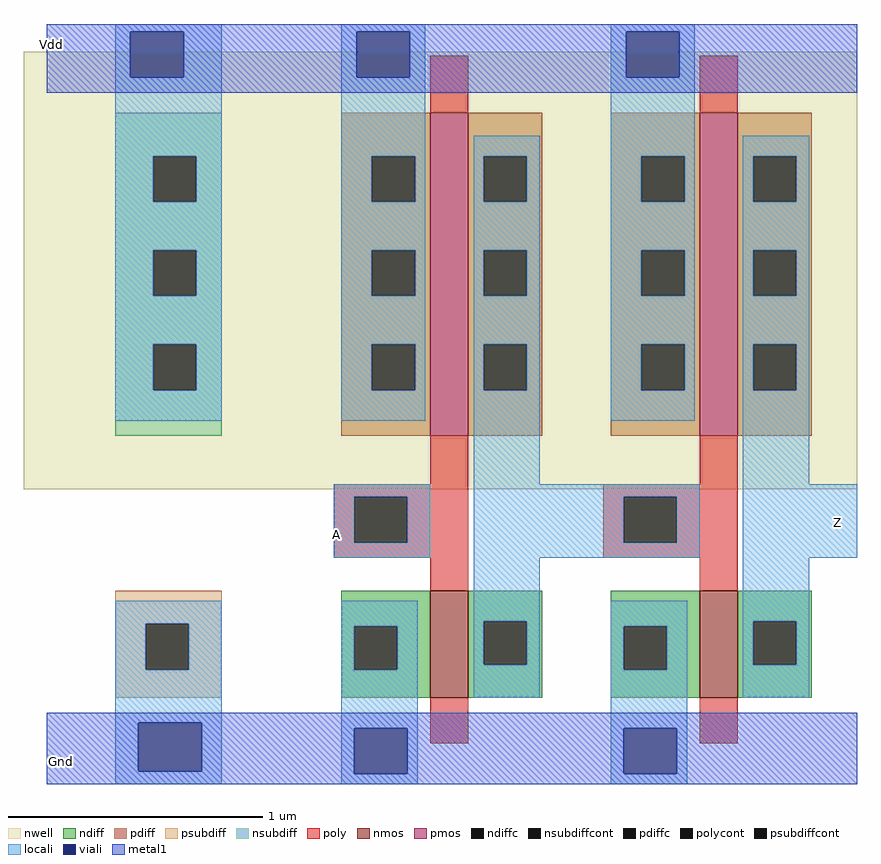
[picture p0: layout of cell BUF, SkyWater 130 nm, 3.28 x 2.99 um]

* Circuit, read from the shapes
.subckt BUF Vdd Gnd A Z
XM1 n1 A Gnd Gnd sky130_fd_pr__nfet_01v8 w=0.42 l=0.15
XM2 Z n1 Gnd Gnd sky130_fd_pr__nfet_01v8 w=0.42 l=0.15
XM3 n1 A Vdd Vdd sky130_fd_pr__pfet_01v8 w=1.27 l=0.15
XM4 Z n1 Vdd Vdd sky130_fd_pr__pfet_01v8 w=1.27 l=0.15
.ends

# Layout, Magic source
magic
tech sky130A
magscale 1 2
<< nwell >>
rect -644 380 12 724
<< nmos >>
rect -324 216 -294 300
rect -112 216 -82 300
<< pmos >>
rect -324 422 -294 676
rect -112 422 -82 676
<< ndiff >>
rect -394 272 -324 300
rect -394 238 -384 272
rect -350 238 -324 272
rect -394 216 -324 238
rect -294 276 -236 300
rect -294 242 -282 276
rect -248 242 -236 276
rect -294 216 -236 242
rect -182 272 -112 300
rect -182 238 -172 272
rect -138 238 -112 272
rect -182 216 -112 238
rect -82 276 -24 300
rect -82 242 -70 276
rect -36 242 -24 276
rect -82 216 -24 242
<< pdiff >>
rect -394 642 -324 676
rect -394 606 -370 642
rect -336 606 -324 642
rect -394 568 -324 606
rect -394 532 -370 568
rect -336 532 -324 568
rect -394 494 -324 532
rect -394 458 -370 494
rect -336 458 -324 494
rect -394 422 -324 458
rect -294 642 -236 676
rect -294 606 -282 642
rect -248 606 -236 642
rect -294 568 -236 606
rect -294 532 -282 568
rect -248 532 -236 568
rect -294 494 -236 532
rect -294 458 -282 494
rect -248 458 -236 494
rect -294 422 -236 458
rect -182 642 -112 676
rect -182 606 -158 642
rect -124 606 -112 642
rect -182 568 -112 606
rect -182 532 -158 568
rect -124 532 -112 568
rect -182 494 -112 532
rect -182 458 -158 494
rect -124 458 -112 494
rect -182 422 -112 458
rect -82 642 -24 676
rect -82 606 -70 642
rect -36 606 -24 642
rect -82 568 -24 606
rect -82 532 -70 568
rect -36 532 -24 568
rect -82 494 -24 532
rect -82 458 -70 494
rect -36 458 -24 494
rect -82 422 -24 458
<< ndiffc >>
rect -384 238 -350 272
rect -282 242 -248 276
rect -172 238 -138 272
rect -70 242 -36 276
<< pdiffc >>
rect -370 606 -336 642
rect -370 532 -336 568
rect -370 458 -336 494
rect -282 606 -248 642
rect -282 532 -248 568
rect -282 458 -248 494
rect -158 606 -124 642
rect -158 532 -124 568
rect -158 458 -124 494
rect -70 606 -36 642
rect -70 532 -36 568
rect -70 458 -36 494
<< psubdiff >>
rect -572 274 -488 300
rect -572 238 -548 274
rect -514 238 -488 274
rect -572 216 -488 238
<< nsubdiff >>
rect -572 642 -488 676
rect -572 606 -542 642
rect -508 606 -488 642
rect -572 568 -488 606
rect -572 532 -542 568
rect -508 532 -488 568
rect -572 494 -488 532
rect -572 458 -542 494
rect -508 458 -488 494
rect -572 422 -488 458
<< psubdiffcont >>
rect -548 238 -514 274
<< nsubdiffcont >>
rect -542 606 -508 642
rect -542 532 -508 568
rect -542 458 -508 494
<< poly >>
rect -324 676 -294 721
rect -112 676 -82 721
rect -324 384 -294 422
rect -112 384 -82 422
rect -400 374 -294 384
rect -400 338 -384 374
rect -342 338 -294 374
rect -400 326 -294 338
rect -188 374 -82 384
rect -188 338 -172 374
rect -130 338 -82 374
rect -188 326 -82 338
rect -324 300 -294 326
rect -112 300 -82 326
rect -324 180 -294 216
rect -112 180 -82 216
<< polycont >>
rect -384 338 -342 374
rect -172 338 -130 374
<< locali >>
rect -572 740 -488 746
rect -572 704 -560 740
rect -518 704 -488 740
rect -572 642 -488 704
rect -572 606 -542 642
rect -508 606 -488 642
rect -572 568 -488 606
rect -572 532 -542 568
rect -508 532 -488 568
rect -572 494 -488 532
rect -572 458 -542 494
rect -508 458 -488 494
rect -572 434 -488 458
rect -394 740 -328 746
rect -394 704 -382 740
rect -340 704 -328 740
rect -394 642 -328 704
rect -182 740 -116 746
rect -182 704 -170 740
rect -128 704 -116 740
rect -394 606 -370 642
rect -336 606 -328 642
rect -394 568 -328 606
rect -394 532 -370 568
rect -336 532 -328 568
rect -394 494 -328 532
rect -394 458 -370 494
rect -336 458 -328 494
rect -394 434 -328 458
rect -290 642 -238 658
rect -290 606 -282 642
rect -248 606 -238 642
rect -290 568 -238 606
rect -290 532 -282 568
rect -248 532 -238 568
rect -290 494 -238 532
rect -290 458 -282 494
rect -248 458 -238 494
rect -290 384 -238 458
rect -182 642 -116 704
rect -182 606 -158 642
rect -124 606 -116 642
rect -182 568 -116 606
rect -182 532 -158 568
rect -124 532 -116 568
rect -182 494 -116 532
rect -182 458 -158 494
rect -124 458 -116 494
rect -182 434 -116 458
rect -78 642 -26 658
rect -78 606 -70 642
rect -36 606 -26 642
rect -78 568 -26 606
rect -78 532 -70 568
rect -36 532 -26 568
rect -78 494 -26 532
rect -78 458 -70 494
rect -36 458 -26 494
rect -78 384 -26 458
rect -400 374 -324 384
rect -400 338 -384 374
rect -342 338 -324 374
rect -400 326 -324 338
rect -290 374 -112 384
rect -290 338 -172 374
rect -130 338 -112 374
rect -290 326 -112 338
rect -78 326 12 384
rect -572 274 -488 292
rect -572 238 -548 274
rect -514 238 -488 274
rect -572 196 -488 238
rect -572 158 -554 196
rect -504 158 -488 196
rect -572 148 -488 158
rect -394 272 -334 292
rect -394 238 -384 272
rect -350 238 -334 272
rect -394 192 -334 238
rect -290 276 -238 326
rect -290 242 -282 276
rect -248 242 -238 276
rect -290 216 -238 242
rect -182 272 -122 292
rect -182 238 -172 272
rect -138 238 -122 272
rect -394 156 -384 192
rect -342 156 -334 192
rect -394 148 -334 156
rect -182 192 -122 238
rect -78 276 -26 326
rect -78 242 -70 276
rect -36 242 -26 276
rect -78 216 -26 242
rect -182 156 -172 192
rect -130 156 -122 192
rect -182 148 -122 156
<< viali >>
rect -560 704 -518 740
rect -382 704 -340 740
rect -170 704 -128 740
rect -554 158 -504 196
rect -384 156 -342 192
rect -172 156 -130 192
<< metal1 >>
rect -626 740 12 746
rect -626 704 -560 740
rect -518 704 -382 740
rect -340 704 -170 740
rect -128 704 12 740
rect -626 692 12 704
rect -626 196 12 204
rect -626 158 -554 196
rect -504 192 12 196
rect -504 158 -384 192
rect -626 156 -384 158
rect -342 156 -172 192
rect -130 156 12 192
rect -626 148 12 156
<< labels >>
rlabel metal1 -614 166 -614 166 7 Gnd
port 2 w
rlabel locali -398 344 -398 344 7 A
port 3 w
rlabel metal1 -622 730 -622 730 7 Vdd
port 1 w
rlabel locali -4 354 -4 354 3 Z
port 4 e
<< end >>
